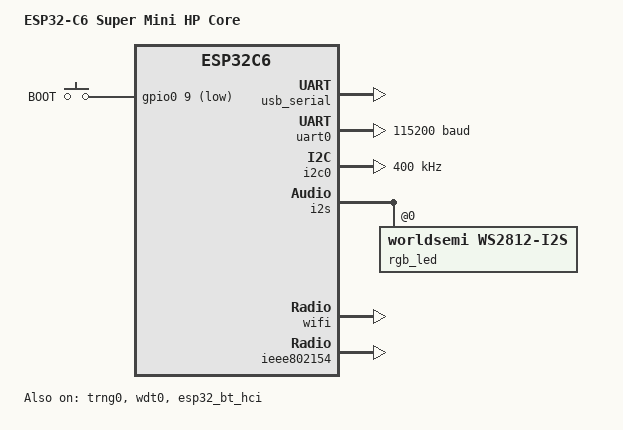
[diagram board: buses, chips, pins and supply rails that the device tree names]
/* SPDX-License-Identifier: Apache-2.0 */

/dts-v1/;

#include <espressif/esp32c6/esp32c6_common.dtsi>
#include <espressif/partitions_0x0_default.dtsi>
#include <zephyr/dt-bindings/input/input-event-codes.h>
#include <zephyr/dt-bindings/led/led.h>
#include "esp32c6_supermini_hpcore-pinctrl.dtsi"

/ {
	model = "ESP32-C6 Super Mini HP Core";
	compatible = "others,esp32c6-supermini";

	chosen {
		zephyr,sram = &sramhp;
		zephyr,console = &usb_serial;
		zephyr,shell-uart = &usb_serial;
		zephyr,flash = &flash0;
		zephyr,code-partition = &slot0_partition;
		zephyr,ieee802154 = &ieee802154;
	};

	aliases {
		sw0 = &boot_button;
		rgb0 = &rgb_led;
		led-strip = &rgb_led;
		i2c-0 = &i2c0;
		watchdog0 = &wdt0;
	};

	buttons {
		compatible = "gpio-keys";

		boot_button: button_0 {
			gpios = <&gpio0 9 (GPIO_PULL_UP | GPIO_ACTIVE_LOW)>;
			label = "BOOT";
			zephyr,code = <INPUT_KEY_0>;
		};
	};
};

/* ESP32-C6FH4 has 4 MiB of in-package flash. */
&flash0 {
	reg = <0x0 DT_SIZE_M(4)>;
};

&usb_serial {
	status = "okay";
};

&uart0 {
	status = "okay";
	current-speed = <115200>;
	pinctrl-0 = <&uart0_default>;
	pinctrl-names = "default";
};

&gpio0 {
	status = "okay";
};

&trng0 {
	status = "okay";
};

&wdt0 {
	status = "okay";
};

&i2c0 {
	status = "okay";
	clock-frequency = <I2C_BITRATE_FAST>;
	pinctrl-0 = <&i2c0_default>;
	pinctrl-names = "default";
};

/* WS2812 is an addressable RGB LED, driven through I2S on GPIO8. */
&i2s {
	status = "okay";
	pinctrl-0 = <&i2s_default>;
	pinctrl-names = "default";
	dmas = <&dma 3>;
	dma-names = "tx";

	rgb_led: ws2812@0 {
		compatible = "worldsemi,ws2812-i2s";
		reg = <0>;
		chain-length = <1>;
		color-mapping = <LED_COLOR_ID_GREEN LED_COLOR_ID_RED LED_COLOR_ID_BLUE>;
		reset-delay = <500>;
	};
};

&dma {
	status = "okay";
};

&wifi {
	status = "okay";
};

&ieee802154 {
	status = "okay";
};

&esp32_bt_hci {
	status = "okay";
};
